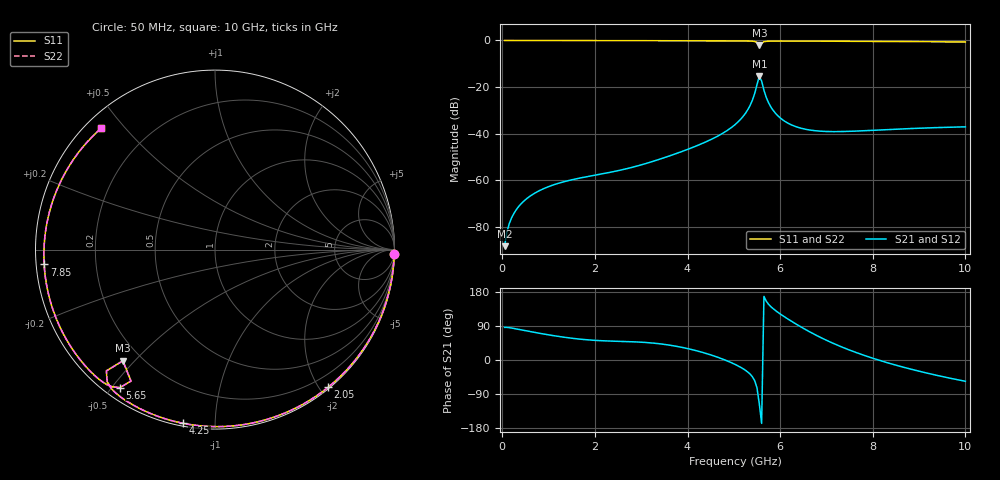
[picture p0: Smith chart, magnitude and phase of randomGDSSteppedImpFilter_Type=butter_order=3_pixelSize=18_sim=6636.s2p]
! freq	dB(S11)	phase(S11)	dB(S12)	phase(S12)
!  dB(S21)	phase(S21)	dB(S22)	phase(S22)
!S-par simulation data
#  GHz  S  DB  R 50
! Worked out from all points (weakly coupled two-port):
!   200 points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, 50 MHz to 10 GHz, reference 50 ohm
!   highest |S21| = -15.40 dB at 5.55 GHz (marker M1); lowest = -88.2 dB at 50 MHz (marker M2)
!   lowest |S11| = -1.9 dB at 5.55 GHz (marker M3), VSWR 9.21, Z = 6.61 - j23.2 ohm
!   |S11| at or under -10 dB: nowhere
!   |S22| runs from -1.9 to 0.0 dB; largest |S21 - S12| = 0
!   S11 on the Smith chart (normalised r, x): 50 MHz: 4, -88; 2.05 GHz: 0.02, -2.12; 4.25 GHz: 0.01, -0.83; 5.65 GHz: 0.04, -0.52; 7.85 GHz: 0.02, -0.04; 10 GHz: 0.04, +0.43
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0.05  -0.01 -1.3  -88.18 86.2  -88.18 86.2  -0.01 -1.3
0.15  -0.01 -3.8  -78.58 85.4  -78.58 85.4  -0.01 -3.8
0.35  -0.02 -8.8  -71.27 81.0  -71.27 81.0  -0.02 -8.8
0.65  -0.02 -16.3  -66.07 74.0  -66.07 74.0  -0.02 -16.3
1.1  -0.03 -27.5  -61.94 64.4  -61.94 64.4  -0.03 -27.5
1.75  -0.05 -43.4  -58.69 54.2  -58.69 54.2  -0.05 -43.4
2.05  -0.06 -50.6  -57.58 51.5  -57.58 51.5  -0.06 -50.6
3.4  -0.11 -81.7  -50.90 42.8  -50.90 42.8  -0.11 -81.7
4.25  -0.14 -100.3  -44.73 22.6  -44.73 22.6  -0.14 -100.3
5.05  -0.19 -117.8  -35.66 -13.0  -35.66 -13.0  -0.19 -117.8
5.35  -0.27 -125.5  -27.90 -37.1  -27.90 -37.1  -0.27 -125.5
5.5  -0.85 -131.9  -18.94 -73.4  -18.94 -73.4  -0.85 -131.8
5.55  -1.89 -129.7  -15.40 -115.8  -15.40 -115.8  -1.88 -129.6
5.65  -0.59 -124.6  -21.36 167.8  -21.36 167.8  -0.59 -124.6
5.8  -0.29 -130.2  -28.54 140.6  -28.54 140.6  -0.29 -130.2
6  -0.26 -135.2  -33.19 121.6  -33.19 121.6  -0.26 -135.2
6.3  -0.27 -141.9  -36.66 98.1  -36.66 98.1  -0.27 -141.9
6.7  -0.29 -150.4  -38.58 70.3  -38.58 70.3  -0.29 -150.4
7.85  -0.40 -175.0  -38.67 10.8  -38.67 10.8  -0.40 -175.0
8.35  -0.45 173.8  -38.19 -8.4  -38.19 -8.4  -0.45 173.8
9.2  -0.55 153.8  -37.48 -35.4  -37.48 -35.4  -0.55 153.8
10  -0.66 133.2  -37.04 -56.2  -37.04 -56.2  -0.66 133.3
